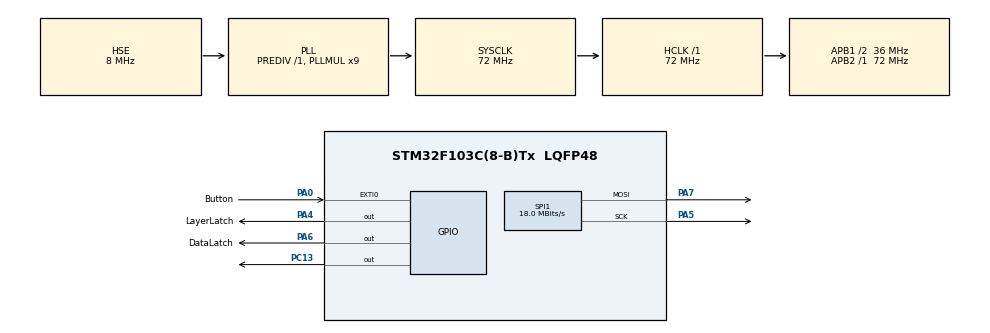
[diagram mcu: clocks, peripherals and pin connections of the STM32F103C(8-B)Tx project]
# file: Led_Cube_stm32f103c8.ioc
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Mcu.Family=STM32F1
Mcu.Name=STM32F103C(8-B)Tx
Mcu.Package=LQFP48
NVIC.EXTI0_IRQn=true\:0\:0\:false\:false\:true\:true\:true
NVIC.PriorityGroup=NVIC_PRIORITYGROUP_4
PA0-WKUP.GPIO_Label=Button
PA0-WKUP.GPIO_ModeDefaultEXTI=GPIO_MODE_IT_FALLING
PA0-WKUP.Signal=GPXTI0
PA13.Mode=Serial_Wire
PA13.Signal=SYS_JTMS-SWDIO
PA14.Mode=Serial_Wire
PA14.Signal=SYS_JTCK-SWCLK
PA4.GPIO_Label=LayerLatch
PA4.Signal=GPIO_Output
PA5.Mode=TX_Only_Simplex_Unidirect_Master
PA5.Signal=SPI1_SCK
PA6.GPIO_Label=DataLatch
PA6.Signal=GPIO_Output
PA7.Mode=TX_Only_Simplex_Unidirect_Master
PA7.Signal=SPI1_MOSI
PC13-TAMPER-RTC.Signal=GPIO_Output
PD0-OSC_IN.Mode=HSE-External-Oscillator
PD0-OSC_IN.Signal=RCC_OSC_IN
PD1-OSC_OUT.Mode=HSE-External-Oscillator
PD1-OSC_OUT.Signal=RCC_OSC_OUT
ProjectManager.HeapSize=0x200
ProjectManager.StackSize=0x400
ProjectManager.TargetToolchain=SW4STM32
RCC.AHBFreq_Value=72000000
RCC.APB1CLKDivider=RCC_HCLK_DIV2
RCC.APB1Freq_Value=36000000
RCC.APB1TimFreq_Value=72000000
RCC.APB2Freq_Value=72000000
RCC.APB2TimFreq_Value=72000000
RCC.HCLKFreq_Value=72000000
RCC.PLLMUL=RCC_PLL_MUL9
RCC.PLLSourceVirtual=RCC_PLLSOURCE_HSE
RCC.SYSCLKFreq_VALUE=72000000
RCC.SYSCLKSource=RCC_SYSCLKSOURCE_PLLCLK
RCC.USBFreq_Value=72000000
SPI1.BaudRatePrescaler=SPI_BAUDRATEPRESCALER_4
SPI1.CalculateBaudRate=18.0 MBits/s
SPI1.Direction=SPI_DIRECTION_2LINES
SPI1.Mode=SPI_MODE_MASTER
SPI1.VirtualType=VM_MASTER
board=custom

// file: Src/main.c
/* USER CODE BEGIN Header */
/**
  ******************************************************************************
  * @file           : main.c
  * @brief          : Main program body
  ******************************************************************************
  * @attention
  *
  * <h2><center>&copy; Copyright (c) 2020 STMicroelectronics.
  * All rights reserved.</center></h2>
  *
  * This software component is licensed by ST under BSD 3-Clause license,
  * the "License"; You may not use this file except in compliance with the
  * License. You may obtain a copy of the License at:
  *                        opensource.org/licenses/BSD-3-Clause
  *
  ******************************************************************************
  */
/* USER CODE END Header */

#include "main.h"

/* USER CODE BEGIN Includes */
#include "stdlib.h"
/* USER CODE END Includes */

SPI_HandleTypeDef hspi1;

/* USER CODE BEGIN PV */
uint8_t mode;

/* USER CODE END PV */

void SystemClock_Config(void);
static void MX_GPIO_Init(void);
static void MX_SPI1_Init(void);

/* USER CODE BEGIN 0 */
#define loop_time	5

void LED_Reset(void);
void scan_led(int delay_time);
void shift(void);
void cube_data_reset(void);
void effect1(void);
void effect2(void);
void effect3(void);
void effect4(void);
void effect5(void);
void effect6(void);
void effect7(void);
void effect8(void);
void effect9(void);

uint8_t LAYER_Data[1] = {0xFF};
uint8_t LED_Data[8] = {0xAA, 0xAA, 0xAA, 0xAA, 0xAA, 0xAA, 0xAA, 0xAA};
uint8_t Matrix_Data[8];
uint8_t A_character[8] = {0x18, 0x3c, 0x66, 0x66, 0x7E, 0x7E, 0x66, 0x66};
uint8_t cube_data[8][8];

//uint8_t LED_Reset_Data[8] = {0xff, 0xff, 0xff, 0xff, 0xff, 0xff, 0xff, 0xff};
//uint8_t Side_Enable[8] = {0, 1, 0, 1, 0, 1, 0, 1};

/* USER CODE END 0 */

int main(void)
{

  /* MCU Configuration--------------------------------------------------------*/

  /* Reset of all peripherals, Initializes the Flash interface and the Systick. */
  HAL_Init();

  /* Configure the system clock */
  SystemClock_Config();

  /* Initialize all configured peripherals */
  MX_GPIO_Init();
  MX_SPI1_Init();
  /* USER CODE BEGIN 2 */
  LED_Reset();
  HAL_Delay(1000);

  /* USER CODE END 2 */

  /* Infinite loop */
  /* USER CODE BEGIN WHILE */
  while (1)
  {
	  switch(mode)
	  {
	  	  case 0:
	  	  {
	  		  uint16_t count = 0;
	  		  for(count = 0; count < loop_time; count++)
	  		  {
	  			  if(mode != 0) break;
	  			  effect1();
	  		  }
	  		  for(count = 0; count < loop_time; count++)
	  		  {
	  			  if(mode != 0) break;
	  			  effect2();
	  		  }
	  		  for(count = 0; count < loop_time; count++)
	  		  {
	  			  if(mode != 0) break;
	  			  effect3();
	  		  }
	  		  for(count = 0; count < loop_time; count++)
	  		  {
	  			  if(mode != 0) break;
	  			  effect4();
	  		  }
	  		  for(count = 0; count < loop_time*10; count++)
	  		  {
	  			  if(mode != 0) break;
	  			  effect5();
	  		  }
	  		  for(count = 0; count < loop_time*50; count++)
	  		  {
	  			  if(mode != 0) break;
	  			  effect6();
	  		  }
	  		  for(count = 0; count < loop_time*50; count++)
	  		  {
	  			  if(mode != 0) break;
	  			  effect7();
	  		  }
	  		  for(count = 0; count < loop_time; count++)
	  		  {
	  			  if(mode != 0) break;
	  			  effect8();
	  		  }
	  		  effect9();

	  		  break;
	  	  }
	  	  case 1:
	  	  {
	  		  effect1();
	  		  break;
	  	  }
	  	  case 2:
	  	  {
	  		  effect2();
	  		  break;
	  	  }
	  	  case 3:
	  	  {
	  		  effect3();
	  		  break;
	  	  }
	  	  case 4:
	  	  {
	  		  effect4();
	  		  break;
	  	  }
	  	  case 5:
	  	  {
	  		  effect5();
	  		  break;
	  	  }
	  	  case 6:
	  	  {
	  		  effect6();
	  		  break;
	  	  }
	  	  case 7:
	  	  {
	  		  effect7();
	  		  break;
	  	  }
	  	  case 8:
	  	  {
	  		  effect8();
	  		  break;
	  	  }
	  	  case 9:
	  	  {
	  		  effect9();
	  		  break;
	  	  }
	  	  default:
	  	  {
	  		  effect1();
	  		  break;
	  	  }
	  }
    /* USER CODE END WHILE */

  }
}

void SystemClock_Config(void)
{
  RCC_OscInitTypeDef RCC_OscInitStruct = {0};
  RCC_ClkInitTypeDef RCC_ClkInitStruct = {0};

  /** Initializes the CPU, AHB and APB busses clocks
  */
  RCC_OscInitStruct.OscillatorType = RCC_OSCILLATORTYPE_HSE;
  RCC_OscInitStruct.HSEState = RCC_HSE_ON;
  RCC_OscInitStruct.HSEPredivValue = RCC_HSE_PREDIV_DIV1;
  RCC_OscInitStruct.HSIState = RCC_HSI_ON;
  RCC_OscInitStruct.PLL.PLLState = RCC_PLL_ON;
  RCC_OscInitStruct.PLL.PLLSource = RCC_PLLSOURCE_HSE;
  RCC_OscInitStruct.PLL.PLLMUL = RCC_PLL_MUL9;
  if (HAL_RCC_OscConfig(&RCC_OscInitStruct) != HAL_OK)
  {
    Error_Handler();
  }
  /** Initializes the CPU, AHB and APB busses clocks
  */
  RCC_ClkInitStruct.ClockType = RCC_CLOCKTYPE_HCLK|RCC_CLOCKTYPE_SYSCLK
                              |RCC_CLOCKTYPE_PCLK1|RCC_CLOCKTYPE_PCLK2;
  RCC_ClkInitStruct.SYSCLKSource = RCC_SYSCLKSOURCE_PLLCLK;
  RCC_ClkInitStruct.AHBCLKDivider = RCC_SYSCLK_DIV1;
  RCC_ClkInitStruct.APB1CLKDivider = RCC_HCLK_DIV2;
  RCC_ClkInitStruct.APB2CLKDivider = RCC_HCLK_DIV1;

  if (HAL_RCC_ClockConfig(&RCC_ClkInitStruct, FLASH_LATENCY_2) != HAL_OK)
  {
    Error_Handler();
  }
}

static void MX_SPI1_Init(void)
{

  /* SPI1 parameter configuration*/
  hspi1.Instance = SPI1;
  hspi1.Init.Mode = SPI_MODE_MASTER;
  hspi1.Init.Direction = SPI_DIRECTION_2LINES;
  hspi1.Init.DataSize = SPI_DATASIZE_8BIT;
  hspi1.Init.CLKPolarity = SPI_POLARITY_LOW;
  hspi1.Init.CLKPhase = SPI_PHASE_1EDGE;
  hspi1.Init.NSS = SPI_NSS_SOFT;
  hspi1.Init.BaudRatePrescaler = SPI_BAUDRATEPRESCALER_4;
  hspi1.Init.FirstBit = SPI_FIRSTBIT_MSB;
  hspi1.Init.TIMode = SPI_TIMODE_DISABLE;
  hspi1.Init.CRCCalculation = SPI_CRCCALCULATION_DISABLE;
  hspi1.Init.CRCPolynomial = 10;
  if (HAL_SPI_Init(&hspi1) != HAL_OK)
  {
    Error_Handler();
  }

}

static void MX_GPIO_Init(void)
{
  GPIO_InitTypeDef GPIO_InitStruct = {0};

  /* GPIO Ports Clock Enable */
  __HAL_RCC_GPIOC_CLK_ENABLE();
  __HAL_RCC_GPIOD_CLK_ENABLE();
  __HAL_RCC_GPIOA_CLK_ENABLE();

  /*Configure GPIO pin Output Level */
  HAL_GPIO_WritePin(GPIOC, GPIO_PIN_13, GPIO_PIN_RESET);

  /*Configure GPIO pin Output Level */
  HAL_GPIO_WritePin(GPIOA, LayerLatch_Pin|DataLatch_Pin, GPIO_PIN_RESET);

  /*Configure GPIO pin : PC13 */
  GPIO_InitStruct.Pin = GPIO_PIN_13;
  GPIO_InitStruct.Mode = GPIO_MODE_OUTPUT_PP;
  GPIO_InitStruct.Pull = GPIO_NOPULL;
  GPIO_InitStruct.Speed = GPIO_SPEED_FREQ_LOW;
  HAL_GPIO_Init(GPIOC, &GPIO_InitStruct);

  /*Configure GPIO pin : Button_Pin */
  GPIO_InitStruct.Pin = Button_Pin;
  GPIO_InitStruct.Mode = GPIO_MODE_IT_FALLING;
  GPIO_InitStruct.Pull = GPIO_NOPULL;
  HAL_GPIO_Init(Button_GPIO_Port, &GPIO_InitStruct);

  /*Configure GPIO pins : LayerLatch_Pin DataLatch_Pin */
  GPIO_InitStruct.Pin = LayerLatch_Pin|DataLatch_Pin;
  GPIO_InitStruct.Mode = GPIO_MODE_OUTPUT_PP;
  GPIO_InitStruct.Pull = GPIO_NOPULL;
  GPIO_InitStruct.Speed = GPIO_SPEED_FREQ_LOW;
  HAL_GPIO_Init(GPIOA, &GPIO_InitStruct);

  /* EXTI interrupt init*/
  HAL_NVIC_SetPriority(EXTI0_IRQn, 0, 0);
  HAL_NVIC_EnableIRQ(EXTI0_IRQn);

}

/* USER CODE BEGIN 4 */
void LED_Reset(void)
{
	uint8_t temp = 0;

	LED_Data[0] = 0xFF;
	LED_Data[1] = 0xFF;
	LED_Data[2] = 0xFF;
	LED_Data[3] = 0xFF;
	LED_Data[4] = 0xFF;
	LED_Data[5] = 0xFF;
	LED_Data[6] = 0xFF;
	LED_Data[7] = 0xFF;

	LAYER_Data[0] = ~temp;

	HAL_GPIO_WritePin(DataLatch_GPIO_Port, DataLatch_Pin, GPIO_PIN_SET);
	HAL_SPI_Transmit(&hspi1, LED_Data, 8, 10);
	HAL_GPIO_WritePin(DataLatch_GPIO_Port, DataLatch_Pin, GPIO_PIN_RESET);
	HAL_GPIO_WritePin(LayerLatch_GPIO_Port, LayerLatch_Pin, GPIO_PIN_SET);
	HAL_SPI_Transmit(&hspi1, LAYER_Data, 1, 10);
	HAL_GPIO_WritePin(LayerLatch_GPIO_Port, LayerLatch_Pin, GPIO_PIN_RESET);
	HAL_GPIO_WritePin(LayerLatch_GPIO_Port, LayerLatch_Pin, GPIO_PIN_SET);
}

void scan_led(int delay_time)
{
	uint8_t temp=1;
	uint8_t i;
	uint8_t k;

	for(i=0;i<8;i++)
	{
		for(k=0; k<8; k++)
		{
			LED_Data[k] = cube_data[i][k];
		}

		LAYER_Data[0] = ~temp;

		HAL_GPIO_WritePin(GPIOA, GPIO_PIN_6, GPIO_PIN_RESET);
		HAL_SPI_Transmit(&hspi1, LED_Data, 8, 10);
		HAL_GPIO_WritePin(GPIOA, GPIO_PIN_6, GPIO_PIN_SET);
		HAL_GPIO_WritePin(GPIOA, GPIO_PIN_4, GPIO_PIN_RESET);
		HAL_SPI_Transmit(&hspi1, LAYER_Data, 1, 10);
		HAL_GPIO_WritePin(GPIOA, GPIO_PIN_4, GPIO_PIN_SET);

		temp = temp << 1;
		HAL_Delay(delay_time);
	}
}

void shift(void)
{
	uint8_t i;
	uint8_t j;
	for(i=7; i>0; i--)
	{
		for(j=0; j<8; j++)
		{
			cube_data[i][j] = cube_data[i-1][j];
		}
	}
}

void cube_data_reset(void)
{
	uint8_t i;
	uint8_t j;
	for(i=0; i<8; i++)
	{
		for (j=0; j<8; j++)
		{
			cube_data[i][j] = 0xFF;
		}
	}
}

void effect1(void)
{
	uint8_t i;
	uint8_t j;
	uint8_t delay;
	uint8_t k;
	for(i=0; i<14; i++)
	{
		delay = 10;
		if(i<7 ) j=i;
		else	j=14-i;
		cube_data_reset();
		for(k=0; k<8; k++)
		{
			cube_data[k][j] = ~A_character[k];
		}
		while(delay--)
		{
			if(mode != 1 && mode !=0) break;
		    scan_led(0);
		}
	}
}

//hinh vuong chay
void effect2(void)
{
	uint8_t temp=1;
	uint8_t i;

	LED_Data[0] = 0x00;
	LED_Data[1] = 0x7E;
	LED_Data[2] = 0x7E;
	LED_Data[3] = 0x7E;
	LED_Data[4] = 0x7E;
	LED_Data[5] = 0x7E;
	LED_Data[6] = 0x7E;
	LED_Data[7] = 0x00;

	for(i=0;i<14;i++)
	{
		if(mode != 2 && mode != 0) break;
		LAYER_Data[0] = ~temp;

		HAL_GPIO_WritePin(GPIOA, GPIO_PIN_6, GPIO_PIN_RESET);
		HAL_SPI_Transmit(&hspi1, LED_Data, 8, 10);
		HAL_GPIO_WritePin(GPIOA, GPIO_PIN_6, GPIO_PIN_SET);
		HAL_GPIO_WritePin(GPIOA, GPIO_PIN_4, GPIO_PIN_RESET);
		HAL_SPI_Transmit(&hspi1, LAYER_Data, 1, 10);
		HAL_GPIO_WritePin(GPIOA, GPIO_PIN_4, GPIO_PIN_SET);

		if(i<7)	   temp = temp << 1;
		else    temp = temp >> 1;
		HAL_Delay(100);
	}
}

//rain fall 1
void effect3(void)
{
	uint8_t temp = 1;
	uint8_t i;
	uint8_t k;

	for(i=0;i<8;i++)
	{
		if(mode != 3 && mode != 0) break;
		//random value from 1 to 8 by rand()%(maxN + 1 - minN)
		for(k=0; k<8; k++)
		{
			LED_Data[k] = 1;
			LED_Data[k] = LED_Data[k] << rand()%8;
			LED_Data[k] = ~LED_Data[k];
		}
		LAYER_Data[0] = ~temp;

		HAL_GPIO_WritePin(DataLatch_GPIO_Port, DataLatch_Pin, GPIO_PIN_RESET);
		HAL_SPI_Transmit(&hspi1, LED_Data, 8, 10);
		HAL_GPIO_WritePin(DataLatch_GPIO_Port, DataLatch_Pin, GPIO_PIN_SET);
		HAL_GPIO_WritePin(LayerLatch_GPIO_Port, LayerLatch_Pin, GPIO_PIN_RESET);
		HAL_SPI_Transmit(&hspi1, LAYER_Data, 1, 10);
		HAL_GPIO_WritePin(LayerLatch_GPIO_Port, LayerLatch_Pin, GPIO_PIN_SET);

		HAL_Delay(100);
		temp = temp << 1;
	}
}

//rain fall 2
void effect4(void)
{
	uint8_t temp = 1;
	uint8_t i;
	uint8_t k;

	//random value from 1 to 8 by rand()%(maxN + 1 - minN)
	for(k=0; k<8; k++)
	{
		if(mode != 4 && mode != 0) break;
		LED_Data[k] = 1;
		LED_Data[k] = LED_Data[k] << rand()%8;
		if(k>0)
		{
			while(LED_Data[k] == (~LED_Data[k-1]))
			{
				LED_Data[k] = 1;
				LED_Data[k] = LED_Data[k] << rand()%8;
			}
		}

		LED_Data[k] = ~LED_Data[k];
	}

	HAL_GPIO_WritePin(DataLatch_GPIO_Port, DataLatch_Pin, GPIO_PIN_RESET);
	HAL_SPI_Transmit(&hspi1, LED_Data, 8, 10);
	HAL_GPIO_WritePin(DataLatch_GPIO_Port, DataLatch_Pin, GPIO_PIN_SET);

	for(i=0;i<10;i++)
	{
		LAYER_Data[0] = ~temp;
		HAL_GPIO_WritePin(LayerLatch_GPIO_Port, LayerLatch_Pin, GPIO_PIN_RESET);
		HAL_SPI_Transmit(&hspi1, LAYER_Data, 1, 10);
		HAL_GPIO_WritePin(LayerLatch_GPIO_Port, LayerLatch_Pin, GPIO_PIN_SET);
		HAL_Delay(90);
		temp = temp << 1;
		if((i==0) | (i==1))	temp = temp|0x01;
	}
}

//rain fall 3
void effect5(void)
{
	uint8_t count=20;
	uint8_t i;
	uint8_t k;
	LED_Reset();

	for(i=0; i<8; i++)
	{
		for(k=0; k<8; k++)
		{
			if(i==0)
			{
				cube_data[i][k] = 1;
				cube_data[i][k] = cube_data[i][k] << rand()%8;

				cube_data[i][k] = ~cube_data[i][k];
			}
//			else if(i>0 && i<4)	cube_data[i][k] = cube_data[i-1][k];
		}
	}
	while(count--)
	{
		if(mode != 5 && mode != 0) break;
		scan_led(0);
	}
	shift();
}

void effect6(void)
{
	uint8_t i;
	uint8_t j;
	for(i=0;i<8;i++)
	{
		for(j=0; j<8; j++)
		{
			if(j==0 || j==7)		cube_data[i][j] = 0x00;
			else	cube_data[i][j] = 0x7E;
		}
	}
	scan_led(0);
}

void effect7(void)
{
	uint8_t i;
	uint8_t j;

	for(i=0; i<8; i++)
	{
		for(j=0; j<8; j++)
		{
			if(((i==0) || (i==7)) && ((j==0) || (j==7)))	cube_data[i][j] = 0x00;
			else if ((i>0) && (i<7) && (j>0) && (j<7))	cube_data[i][j] = 0xFF;
			else cube_data[i][j] = 0x7E;
		}
	}
	scan_led(0);
}

void effect8(void)
{
	uint8_t i;
	uint8_t j;
	uint8_t delay;
	for(i=0; i<8; i++)
	{
		delay = 10;
		if(i<4) j=i;
		else	j=8-i;
		cube_data_reset();
		cube_data[0][j] = 0xFF;
		cube_data[1][j] = 0x93;
		cube_data[2][j] = 0x01;
		cube_data[3][j] = 0x01;
		cube_data[4][j] = 0x01;
		cube_data[5][j] = 0x83;
		cube_data[6][j] = 0xC7;
		cube_data[7][j] = 0xEF;

		while(delay--)
		{
			if(mode != 8) break;
			scan_led(0);
		}
	}
}

void effect9(void)
{
	uint8_t i,j;
	uint8_t delay;
	uint8_t loop = 100;

//	uint8_t i_exist[8] = {0,0,0,0,0,0,0,0};
//	uint8_t j_exist[8] = {0,0,0,0,0,0,0,0};

	for(i=0; i<8; i++)
	{
		for(j=0; j<8; j++)
		{
			if(i==0) cube_data[i][j] = 0x00;
			else cube_data[i][j] = 0xFF;
		}
	}

	while(loop--)
	{
		if(mode != 9 && mode != 0) break;
//		uint8_t random_loop = 1;
		for(i=0; i<8; i++) Matrix_Data[i] = 0x00;

//		random:
//			i = rand()%8;
//			j = rand()%8;
//			if(i_exist[i]==0 || j_exist[j]==0)
//			{
//				i_exist[i] = 1;
//				j_exist[j] = 1;
//			}
//			else
//			{
//				goto random;
//			}
		i = rand()%8;
		j = rand()%8;

		Matrix_Data[i] |= (0x01 << j);

		for(i=1; i<8; i++)
		{
			for(j=0; j<8; j++)
			{
				if(i==7) cube_data[i][j] &= ~Matrix_Data[j];
				else    cube_data[i][j] = ~Matrix_Data[j];
			    cube_data[i-1][j] |= Matrix_Data[j];
			}
			delay = 3;
			while(delay--)    scan_led(0);
		}
	}
}

/* USER CODE END 4 */

void Error_Handler(void)
{
}

/************************ (C) COPYRIGHT STMicroelectronics *****END OF FILE****/
